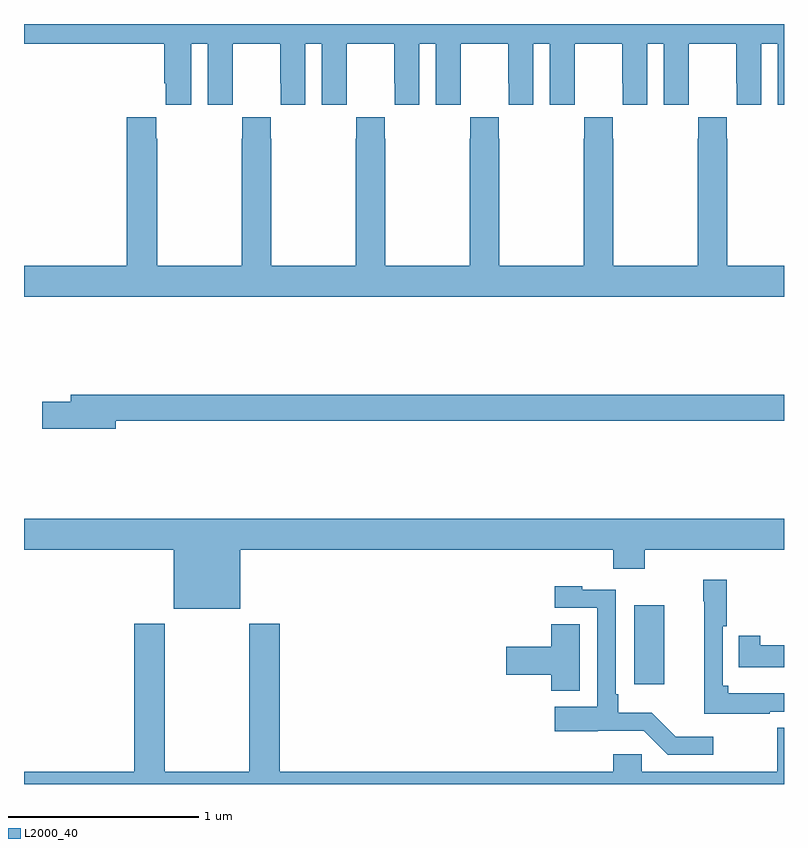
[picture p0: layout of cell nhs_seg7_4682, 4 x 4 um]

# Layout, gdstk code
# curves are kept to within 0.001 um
import gdstk
lib = gdstk.Library(unit=1e-6, precision=1e-09)
def R(c, l, rs):  # rectangles x0, y0, x1, y1
    for r in rs: c.add(gdstk.rectangle(r[:2], r[2:], *l))
def P(c, l, *ps):  # polygons
    for p in ps: c.add(gdstk.Polygon(p, *l))
L2000_40 = (2000, 40)

nhs_seg7_4682 = lib.new_cell('nhs_seg7_4682')
R(nhs_seg7_4682, L2000_40, [(408.212,1050.525,408.37,1050.94)])
P(nhs_seg7_4682, L2000_40, [(406.098,1053.688),(406.099,1053.688),(406.099,1053.896),(406.349,1053.896),(406.349,1053.688),(406.35,1053.688),(406.35,1053.576),(406.48,1053.576),(406.48,1053.896),(406.568,1053.896),(406.568,1053.576),(406.698,1053.576),(406.698,1053.688),(406.699,1053.688),(406.699,1053.896),(406.949,1053.896),(406.949,1053.688),(406.95,1053.688),(406.95,1053.576),(407.08,1053.576),(407.08,1053.896),(407.168,1053.896),(407.168,1053.576),(407.298,1053.576),(407.298,1053.688),(407.299,1053.688),(407.299,1053.896),(407.549,1053.896),(407.549,1053.688),(407.55,1053.688),(407.55,1053.576),(407.68,1053.576),(407.68,1053.896),(407.768,1053.896),(407.768,1053.576),(407.898,1053.576),(407.898,1053.688),(407.899,1053.688),(407.899,1053.896),(408.149,1053.896),(408.149,1053.688),(408.15,1053.688),(408.15,1053.576),(408.28,1053.576),(408.28,1053.896),(408.368,1053.896),(408.368,1053.576),(408.498,1053.576),(408.498,1053.688),(408.499,1053.688),(408.499,1053.896),(408.749,1053.896),(408.749,1053.688),(408.75,1053.688),(408.75,1053.576),(408.88,1053.576),(408.88,1053.896),(408.968,1053.896),(408.968,1053.576),(409,1053.576),(409,1054),(405,1054),(405,1053.896),(405.737,1053.896),(405.737,1053.688),(405.746,1053.688),(405.746,1053.576),(405.88,1053.576),(405.88,1053.896),(405.968,1053.896),(405.968,1053.576),(406.098,1053.576)],
  [(409,1052.728),(408.702,1052.728),(408.702,1053.395),(408.699,1053.395),(408.699,1053.508),(408.549,1053.508),(408.549,1053.395),(408.547,1053.395),(408.547,1052.728),(408.102,1052.728),(408.102,1053.395),(408.099,1053.395),(408.099,1053.508),(407.949,1053.508),(407.949,1053.395),(407.947,1053.395),(407.947,1052.728),(407.502,1052.728),(407.502,1053.395),(407.499,1053.395),(407.499,1053.508),(407.349,1053.508),(407.349,1053.395),(407.347,1053.395),(407.347,1052.728),(406.902,1052.728),(406.902,1053.395),(406.899,1053.395),(406.899,1053.508),(406.749,1053.508),(406.749,1053.395),(406.747,1053.395),(406.747,1052.728),(406.302,1052.728),(406.302,1053.395),(406.299,1053.395),(406.299,1053.508),(406.149,1053.508),(406.149,1053.395),(406.147,1053.395),(406.147,1052.728),(405.702,1052.728),(405.702,1053.395),(405.695,1053.395),(405.695,1053.508),(405.542,1053.508),(405.542,1052.728),(405,1052.728),(405,1052.564),(409,1052.564)],
  [(405.484,1051.912),(409,1051.912),(409,1052.048),(405.245,1052.048),(405.245,1052.012),(405.096,1052.012),(405.096,1051.87),(405.484,1051.87)],
  [(406.138,1051.232),(408.101,1051.232),(408.101,1051.133),(408.266,1051.133),(408.266,1051.232),(409,1051.232),(409,1051.396),(405,1051.396),(405,1051.232),(405.788,1051.232),(405.788,1050.923),(406.138,1050.923)],
  [(408.925,1050.381),(409,1050.381),(409,1050.478),(408.706,1050.478),(408.706,1050.516),(408.678,1050.516),(408.678,1050.83),(408.698,1050.83),(408.698,1051.075),(408.575,1051.075),(408.575,1050.962),(408.581,1050.962),(408.581,1050.369),(408.925,1050.369)],
  [(408.628,1050.25),(408.43,1050.25),(408.304,1050.376),(408.127,1050.376),(408.127,1050.472),(408.114,1050.472),(408.114,1051.023),(407.937,1051.023),(407.937,1051.042),(407.793,1051.042),(407.793,1050.927),(408.018,1050.927),(408.018,1050.406),(407.793,1050.406),(407.793,1050.278),(408.263,1050.279),(408.389,1050.153),(408.628,1050.153)],
  [(409,1050.296),(408.964,1050.296),(408.964,1050.064),(408.252,1050.064),(408.252,1050.157),(408.101,1050.157),(408.101,1050.064),(406.346,1050.064),(406.346,1050.844),(406.186,1050.844),(406.186,1050.064),(405.741,1050.064),(405.741,1050.844),(405.581,1050.844),(405.581,1050.064),(405,1050.064),(405,1050),(409,1050)],
  [(407.926,1050.842),(407.774,1050.842),(407.774,1050.722),(407.538,1050.722),(407.538,1050.575),(407.774,1050.575),(407.774,1050.491),(407.926,1050.491)],
  [(409,1050.731),(408.874,1050.731),(408.874,1050.781),(408.763,1050.781),(408.763,1050.614),(409,1050.614)])

lib.write_gds('nhs_seg7_4682.gds')
